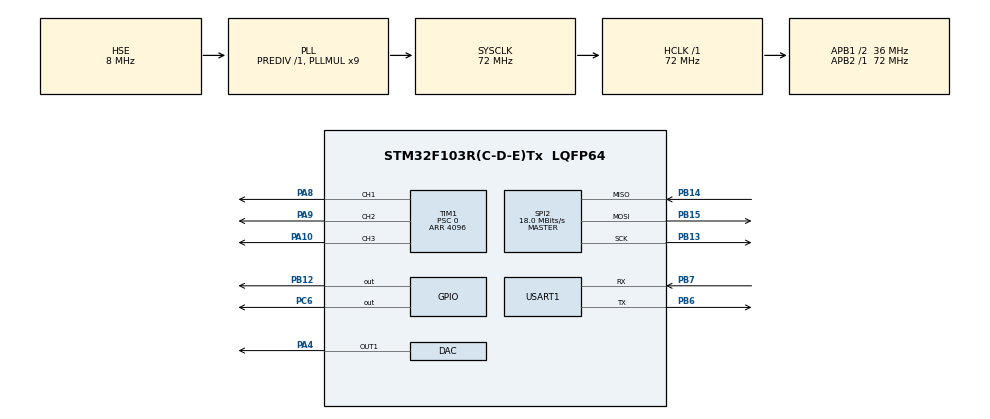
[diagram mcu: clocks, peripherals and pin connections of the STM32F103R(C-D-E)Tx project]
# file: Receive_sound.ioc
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Mcu.Family=STM32F1
Mcu.Name=STM32F103R(C-D-E)Tx
Mcu.Package=LQFP64
NVIC.PriorityGroup=NVIC_PRIORITYGROUP_4
NVIC.USART1_IRQn=true\:0\:0\:false\:false\:true\:true\:true
PA10.Signal=S_TIM1_CH3
PA13.Mode=Serial_Wire
PA13.Signal=SYS_JTMS-SWDIO
PA14.Mode=Serial_Wire
PA14.Signal=SYS_JTCK-SWCLK
PA4.Signal=COMP_DAC1_group
PA8.Signal=S_TIM1_CH1
PA9.Signal=S_TIM1_CH2
PB12.GPIO_Speed=GPIO_SPEED_FREQ_MEDIUM
PB12.Signal=GPIO_Output
PB13.Mode=Full_Duplex_Master
PB13.Signal=SPI2_SCK
PB14.Mode=Full_Duplex_Master
PB14.Signal=SPI2_MISO
PB15.Mode=Full_Duplex_Master
PB15.Signal=SPI2_MOSI
PB6.Mode=Asynchronous
PB6.Signal=USART1_TX
PB7.Mode=Asynchronous
PB7.Signal=USART1_RX
PC6.GPIO_Speed=GPIO_SPEED_FREQ_MEDIUM
PC6.Signal=GPIO_Output
PD0-OSC_IN.Mode=HSE-External-Oscillator
PD0-OSC_IN.Signal=RCC_OSC_IN
PD1-OSC_OUT.Mode=HSE-External-Oscillator
PD1-OSC_OUT.Signal=RCC_OSC_OUT
ProjectManager.HeapSize=0x200
ProjectManager.StackSize=0x400
ProjectManager.TargetToolchain=STM32CubeIDE
RCC.AHBFreq_Value=72000000
RCC.APB1CLKDivider=RCC_HCLK_DIV2
RCC.APB1Freq_Value=36000000
RCC.APB1TimFreq_Value=72000000
RCC.APB2Freq_Value=72000000
RCC.APB2TimFreq_Value=72000000
RCC.HCLKFreq_Value=72000000
RCC.PLLMUL=RCC_PLL_MUL9
RCC.PLLSourceVirtual=RCC_PLLSOURCE_HSE
RCC.SYSCLKFreq_VALUE=72000000
RCC.SYSCLKSource=RCC_SYSCLKSOURCE_PLLCLK
RCC.USBFreq_Value=72000000
SH.COMP_DAC1_group.0=DAC_OUT1,DAC_OUT1
SH.S_TIM1_CH1.0=TIM1_CH1,PWM Generation1 CH1
SH.S_TIM1_CH2.0=TIM1_CH2,PWM Generation2 CH2
SH.S_TIM1_CH3.0=TIM1_CH3,PWM Generation3 CH3
SPI2.CalculateBaudRate=18.0 MBits/s
SPI2.Direction=SPI_DIRECTION_2LINES
SPI2.Mode=SPI_MODE_MASTER
SPI2.VirtualType=VM_MASTER
TIM1.Channel-PWM\ Generation1\ CH1=TIM_CHANNEL_1
TIM1.Channel-PWM\ Generation2\ CH2=TIM_CHANNEL_2
TIM1.Channel-PWM\ Generation3\ CH3=TIM_CHANNEL_3
TIM1.Period=4096
TIM1.Prescaler=0
USART1.VirtualMode=VM_ASYNC
VP_TIM1_VS_ClockSourceINT.Mode=Internal
board=custom

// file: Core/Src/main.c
/* USER CODE BEGIN Header */
/**
  ******************************************************************************
  * @file           : main.c
  * @brief          : Main program body
  ******************************************************************************
  * @attention
  *
  * <h2><center>&copy; Copyright (c) 2019 STMicroelectronics.
  * All rights reserved.</center></h2>
  *
  * This software component is licensed by ST under BSD 3-Clause license,
  * the "License"; You may not use this file except in compliance with the
  * License. You may obtain a copy of the License at:
  *                        opensource.org/licenses/BSD-3-Clause
  *
  ******************************************************************************
  */
/* USER CODE END Header */

#include "main.h"

/* USER CODE BEGIN Includes */
#include "nrf24.h"
#include "nrf24_hal.h"
/* USER CODE END Includes */

DAC_HandleTypeDef hdac;

SPI_HandleTypeDef hspi2;

TIM_HandleTypeDef htim1;

UART_HandleTypeDef huart1;

/* USER CODE BEGIN PV */
uint32_t dac_value;
int i;
const uint16_t sine_wave_array[32] = {2047, 1648, 1264, 910, 600,  345,
                   156, 39,  0,  39,  156,  345,
                   600, 910, 1264, 1648, 2048, 2447,
                   2831, 3185, 3495, 3750, 3939, 4056,
                   4095, 4056, 3939, 3750, 3495, 3185,
                   2831, 2447};
/* USER CODE END PV */

void SystemClock_Config(void);
static void MX_GPIO_Init(void);
static void MX_DAC_Init(void);
static void MX_SPI2_Init(void);
static void MX_TIM1_Init(void);
static void MX_USART1_UART_Init(void);

/* USER CODE BEGIN 0 */
uint8_t Rx_data[2];
uint8_t Rx_buffer[3];
int start, end, t_sample;
/* USER CODE END 0 */

int main(void)
{

  /* MCU Configuration--------------------------------------------------------*/

  /* Reset of all peripherals, Initializes the Flash interface and the Systick. */

	HAL_Init();

  /* Configure the system clock */
  SystemClock_Config();

  /* Initialize all configured peripherals */
  MX_GPIO_Init();
  MX_DAC_Init();
  MX_SPI2_Init();
  MX_TIM1_Init();
  MX_USART1_UART_Init();
  /* USER CODE BEGIN 2 */
  HAL_DAC_Start(&hdac,DAC_CHANNEL_1);
  uint8_t ADDR[] = { 'n', 'R', 'F', '2', '4' }; // the address for RX pipe
  nRF24_DisableAA(0xFF); // disable ShockBurst
  nRF24_SetRFChannel(14); // set RF channel to 2490MHz
  nRF24_SetDataRate(nRF24_DR_2Mbps); // 2Mbit/s data rate
//  nRF24_SetCRCScheme(nRF24_CRC_1byte); // 1-byte CRC scheme
  nRF24_SetAddrWidth(5); // address width is 5 bytes
  nRF24_SetAddr(nRF24_PIPE1, ADDR); // program pipe address
  nRF24_SetRXPipe(nRF24_PIPE1, nRF24_AA_OFF, 10); // enable RX pipe#1 with Auto-ACK: disabled, payload length: 10 bytes
  nRF24_SetOperationalMode(nRF24_MODE_RX); // switch transceiver to the RX mode
  nRF24_SetPowerMode(nRF24_PWR_UP); // wake-up transceiver (in case if it sleeping)
//  HAL_TIM_Base_Start(&htim1);
  HAL_TIM_PWM_Start(&htim1,TIM_CHANNEL_1);
  HAL_TIM_PWM_Start(&htim1,TIM_CHANNEL_2);
  /* USER CODE END 2 */

  /* Infinite loop */
  while (1)
  {

    /* USER CODE BEGIN 3 */
	  uint8_t nRF24_payload[32] =""; // buffer for payload
	  uint8_t payload_length; // variable to store a length of received payload
	  uint8_t pipe; // pipe number
	  nRF24_CE_H; // start receiving
//	  for(int i = 0; i<32; i++){
//
//	   __HAL_TIM_SET_COMPARE(&htim1, TIM_CHANNEL_2,sine_wave_array[i]);
////	   HAL_Delay(100);
//	   }
	  while (1) {
//
//
//
//	      // constantly poll the status of RX FIFO...
	      if (nRF24_GetStatus_RXFIFO() != nRF24_STATUS_RXFIFO_EMPTY) {
	          // the RX FIFO have some data, take a note what nRF24 can hold up to three payloads of 32 bytes...
	          pipe = nRF24_ReadPayload(nRF24_payload, &payload_length); // read a payload to buffer
	          nRF24_ClearIRQFlags(); // clear any pending IRQ bits
	          dac_value = (nRF24_payload[0] << 8 )|(nRF24_payload[1]);
	          __HAL_TIM_SET_COMPARE(&htim1, TIM_CHANNEL_2,dac_value);
////	          HAL_DAC_SetValue(&hdac, DAC_CHANNEL_1, DAC_ALIGN_12B_R, dac_value);
//
////	          adc_buffer[0] = (adc_value & (0xFF00))>>8;
////	          adc_buffer[1] = adc_value & (0x00FF);
	      }

	  }

  }
  /* USER CODE END 3 */
}

void SystemClock_Config(void)
{
  RCC_OscInitTypeDef RCC_OscInitStruct = {0};
  RCC_ClkInitTypeDef RCC_ClkInitStruct = {0};

  /** Initializes the CPU, AHB and APB busses clocks
  */
  RCC_OscInitStruct.OscillatorType = RCC_OSCILLATORTYPE_HSE;
  RCC_OscInitStruct.HSEState = RCC_HSE_ON;
  RCC_OscInitStruct.HSEPredivValue = RCC_HSE_PREDIV_DIV1;
  RCC_OscInitStruct.HSIState = RCC_HSI_ON;
  RCC_OscInitStruct.PLL.PLLState = RCC_PLL_ON;
  RCC_OscInitStruct.PLL.PLLSource = RCC_PLLSOURCE_HSE;
  RCC_OscInitStruct.PLL.PLLMUL = RCC_PLL_MUL9;
  if (HAL_RCC_OscConfig(&RCC_OscInitStruct) != HAL_OK)
  {
    Error_Handler();
  }
  /** Initializes the CPU, AHB and APB busses clocks
  */
  RCC_ClkInitStruct.ClockType = RCC_CLOCKTYPE_HCLK|RCC_CLOCKTYPE_SYSCLK
                              |RCC_CLOCKTYPE_PCLK1|RCC_CLOCKTYPE_PCLK2;
  RCC_ClkInitStruct.SYSCLKSource = RCC_SYSCLKSOURCE_PLLCLK;
  RCC_ClkInitStruct.AHBCLKDivider = RCC_SYSCLK_DIV1;
  RCC_ClkInitStruct.APB1CLKDivider = RCC_HCLK_DIV2;
  RCC_ClkInitStruct.APB2CLKDivider = RCC_HCLK_DIV1;

  if (HAL_RCC_ClockConfig(&RCC_ClkInitStruct, FLASH_LATENCY_2) != HAL_OK)
  {
    Error_Handler();
  }
}

static void MX_DAC_Init(void)
{

  DAC_ChannelConfTypeDef sConfig = {0};

  /** DAC Initialization
  */
  hdac.Instance = DAC;
  if (HAL_DAC_Init(&hdac) != HAL_OK)
  {
    Error_Handler();
  }
  /** DAC channel OUT1 config
  */
  sConfig.DAC_Trigger = DAC_TRIGGER_NONE;
  sConfig.DAC_OutputBuffer = DAC_OUTPUTBUFFER_ENABLE;
  if (HAL_DAC_ConfigChannel(&hdac, &sConfig, DAC_CHANNEL_1) != HAL_OK)
  {
    Error_Handler();
  }

}

static void MX_SPI2_Init(void)
{

  /* SPI2 parameter configuration*/
  hspi2.Instance = SPI2;
  hspi2.Init.Mode = SPI_MODE_MASTER;
  hspi2.Init.Direction = SPI_DIRECTION_2LINES;
  hspi2.Init.DataSize = SPI_DATASIZE_8BIT;
  hspi2.Init.CLKPolarity = SPI_POLARITY_LOW;
  hspi2.Init.CLKPhase = SPI_PHASE_1EDGE;
  hspi2.Init.NSS = SPI_NSS_SOFT;
  hspi2.Init.BaudRatePrescaler = SPI_BAUDRATEPRESCALER_2;
  hspi2.Init.FirstBit = SPI_FIRSTBIT_MSB;
  hspi2.Init.TIMode = SPI_TIMODE_DISABLE;
  hspi2.Init.CRCCalculation = SPI_CRCCALCULATION_DISABLE;
  hspi2.Init.CRCPolynomial = 10;
  if (HAL_SPI_Init(&hspi2) != HAL_OK)
  {
    Error_Handler();
  }

}

static void MX_TIM1_Init(void)
{

  TIM_ClockConfigTypeDef sClockSourceConfig = {0};
  TIM_MasterConfigTypeDef sMasterConfig = {0};
  TIM_OC_InitTypeDef sConfigOC = {0};
  TIM_BreakDeadTimeConfigTypeDef sBreakDeadTimeConfig = {0};

  htim1.Instance = TIM1;
  htim1.Init.Prescaler = 0;
  htim1.Init.CounterMode = TIM_COUNTERMODE_UP;
  htim1.Init.Period = 4096;
  htim1.Init.ClockDivision = TIM_CLOCKDIVISION_DIV1;
  htim1.Init.RepetitionCounter = 0;
  htim1.Init.AutoReloadPreload = TIM_AUTORELOAD_PRELOAD_DISABLE;
  if (HAL_TIM_Base_Init(&htim1) != HAL_OK)
  {
    Error_Handler();
  }
  sClockSourceConfig.ClockSource = TIM_CLOCKSOURCE_INTERNAL;
  if (HAL_TIM_ConfigClockSource(&htim1, &sClockSourceConfig) != HAL_OK)
  {
    Error_Handler();
  }
  if (HAL_TIM_PWM_Init(&htim1) != HAL_OK)
  {
    Error_Handler();
  }
  sMasterConfig.MasterOutputTrigger = TIM_TRGO_RESET;
  sMasterConfig.MasterSlaveMode = TIM_MASTERSLAVEMODE_DISABLE;
  if (HAL_TIMEx_MasterConfigSynchronization(&htim1, &sMasterConfig) != HAL_OK)
  {
    Error_Handler();
  }
  sConfigOC.OCMode = TIM_OCMODE_PWM1;
  sConfigOC.Pulse = 0;
  sConfigOC.OCPolarity = TIM_OCPOLARITY_HIGH;
  sConfigOC.OCNPolarity = TIM_OCNPOLARITY_HIGH;
  sConfigOC.OCFastMode = TIM_OCFAST_DISABLE;
  sConfigOC.OCIdleState = TIM_OCIDLESTATE_RESET;
  sConfigOC.OCNIdleState = TIM_OCNIDLESTATE_RESET;
  if (HAL_TIM_PWM_ConfigChannel(&htim1, &sConfigOC, TIM_CHANNEL_1) != HAL_OK)
  {
    Error_Handler();
  }
  if (HAL_TIM_PWM_ConfigChannel(&htim1, &sConfigOC, TIM_CHANNEL_2) != HAL_OK)
  {
    Error_Handler();
  }
  if (HAL_TIM_PWM_ConfigChannel(&htim1, &sConfigOC, TIM_CHANNEL_3) != HAL_OK)
  {
    Error_Handler();
  }
  sBreakDeadTimeConfig.OffStateRunMode = TIM_OSSR_DISABLE;
  sBreakDeadTimeConfig.OffStateIDLEMode = TIM_OSSI_DISABLE;
  sBreakDeadTimeConfig.LockLevel = TIM_LOCKLEVEL_OFF;
  sBreakDeadTimeConfig.DeadTime = 0;
  sBreakDeadTimeConfig.BreakState = TIM_BREAK_DISABLE;
  sBreakDeadTimeConfig.BreakPolarity = TIM_BREAKPOLARITY_HIGH;
  sBreakDeadTimeConfig.AutomaticOutput = TIM_AUTOMATICOUTPUT_DISABLE;
  if (HAL_TIMEx_ConfigBreakDeadTime(&htim1, &sBreakDeadTimeConfig) != HAL_OK)
  {
    Error_Handler();
  }
  HAL_TIM_MspPostInit(&htim1);

}

static void MX_USART1_UART_Init(void)
{

  huart1.Instance = USART1;
  huart1.Init.BaudRate = 115200;
  huart1.Init.WordLength = UART_WORDLENGTH_8B;
  huart1.Init.StopBits = UART_STOPBITS_1;
  huart1.Init.Parity = UART_PARITY_NONE;
  huart1.Init.Mode = UART_MODE_TX_RX;
  huart1.Init.HwFlowCtl = UART_HWCONTROL_NONE;
  huart1.Init.OverSampling = UART_OVERSAMPLING_16;
  if (HAL_UART_Init(&huart1) != HAL_OK)
  {
    Error_Handler();
  }

}

static void MX_GPIO_Init(void)
{
  GPIO_InitTypeDef GPIO_InitStruct = {0};

  /* GPIO Ports Clock Enable */
  __HAL_RCC_GPIOD_CLK_ENABLE();
  __HAL_RCC_GPIOA_CLK_ENABLE();
  __HAL_RCC_GPIOB_CLK_ENABLE();
  __HAL_RCC_GPIOC_CLK_ENABLE();

  /*Configure GPIO pin Output Level */
  HAL_GPIO_WritePin(GPIOB, GPIO_PIN_12, GPIO_PIN_RESET);

  /*Configure GPIO pin Output Level */
  HAL_GPIO_WritePin(GPIOC, GPIO_PIN_6, GPIO_PIN_RESET);

  /*Configure GPIO pin : PB12 */
  GPIO_InitStruct.Pin = GPIO_PIN_12;
  GPIO_InitStruct.Mode = GPIO_MODE_OUTPUT_PP;
  GPIO_InitStruct.Pull = GPIO_NOPULL;
  GPIO_InitStruct.Speed = GPIO_SPEED_FREQ_MEDIUM;
  HAL_GPIO_Init(GPIOB, &GPIO_InitStruct);

  /*Configure GPIO pin : PC6 */
  GPIO_InitStruct.Pin = GPIO_PIN_6;
  GPIO_InitStruct.Mode = GPIO_MODE_OUTPUT_PP;
  GPIO_InitStruct.Pull = GPIO_NOPULL;
  GPIO_InitStruct.Speed = GPIO_SPEED_FREQ_MEDIUM;
  HAL_GPIO_Init(GPIOC, &GPIO_InitStruct);

}

void Error_Handler(void)
{
}

/************************ (C) COPYRIGHT STMicroelectronics *****END OF FILE****/
